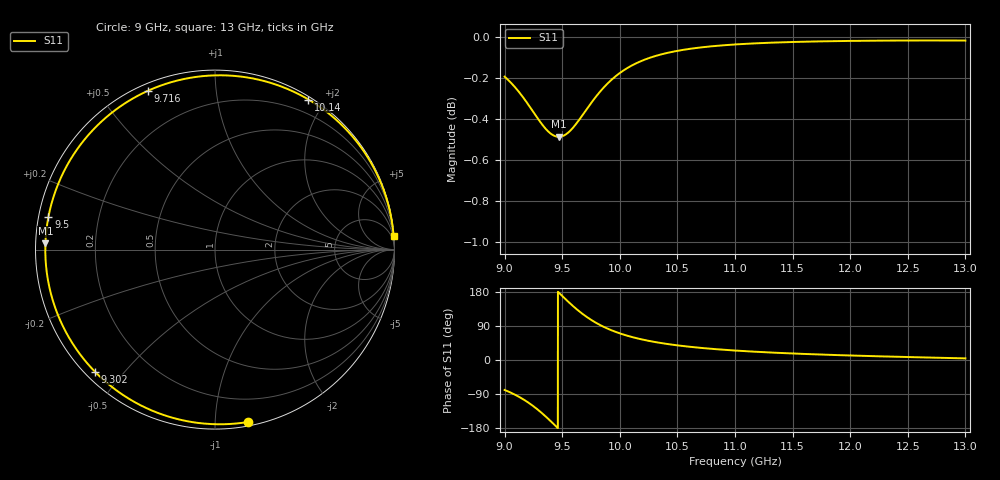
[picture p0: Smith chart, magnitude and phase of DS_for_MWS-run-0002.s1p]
! TOUCHSTONE file generated by CST DESIGN STUDIO
! Date and time: Tue Feb  4 16:39:49 2025
! Project name: C:\Work\MatlabApps\UnitCellOptimizationMatlab\CST\unitcell.cst
! Tree item: Tasks\Sweep1\SPara1\S-Parameters
! Header version: 2024
! Port assignment regex: !\s*Touchstone port\s*([0-9]+)\s*=\s*(CST MWS port|CST DES external port|CST DES block port)\s*(.+)\s* \(\"(.*)\"\)(\s*mode\s*([0-9]+))?.*
! Touchstone port assignment:
! Touchstone port 1 = CST DES external port 1 ("")
# GHz S MA R 50
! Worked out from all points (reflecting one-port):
!   4001 points, 9 GHz to 13 GHz, reference 50 ohm
!   lowest |S11| = -0.5 dB at 9.47 GHz (marker M1), VSWR 35.69, Z = 1.4 + j0.914 ohm
!   phase of S11 starts at -79 deg and turns -277 deg over the sweep
!   S11 on the Smith chart (normalised r, x): 9 GHz: 0.03, -1.21; 9.302 GHz: 0.03, -0.42; 9.5 GHz: 0.03, +0.10; 9.716 GHz: 0.03, +0.66; 10.14 GHz: 0.03, +1.80; 13 GHz: 1, +27
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9  0.9779 -79.1
9.074  0.9733 -89.1
9.125  0.9695 -97.2
9.171  0.9657 -105.5
9.239  0.9597 -119.5
9.302  0.954 -134.5
9.346  0.9505 -146.1
9.393  0.9475 -159.4
9.432  0.946 -170.8
9.47  0.9455 177.9
9.5  0.9458 169.0
9.552  0.9477 153.9
9.611  0.9516 137.8
9.663  0.9559 124.8
9.716  0.9605 113.0
9.772  0.9653 102.0
9.835  0.9702 91.3
9.916  0.9755 79.9
10  0.9799 70.3
10.138  0.9851 58.1
10.301  0.9891 47.7
10.5  0.9921 38.6
10.722  0.9941 31.5
11  0.9956 25.0
11.5  0.997 17.2
12  0.9976 11.9
12.5  0.9979 7.8
13  0.9978 4.3
